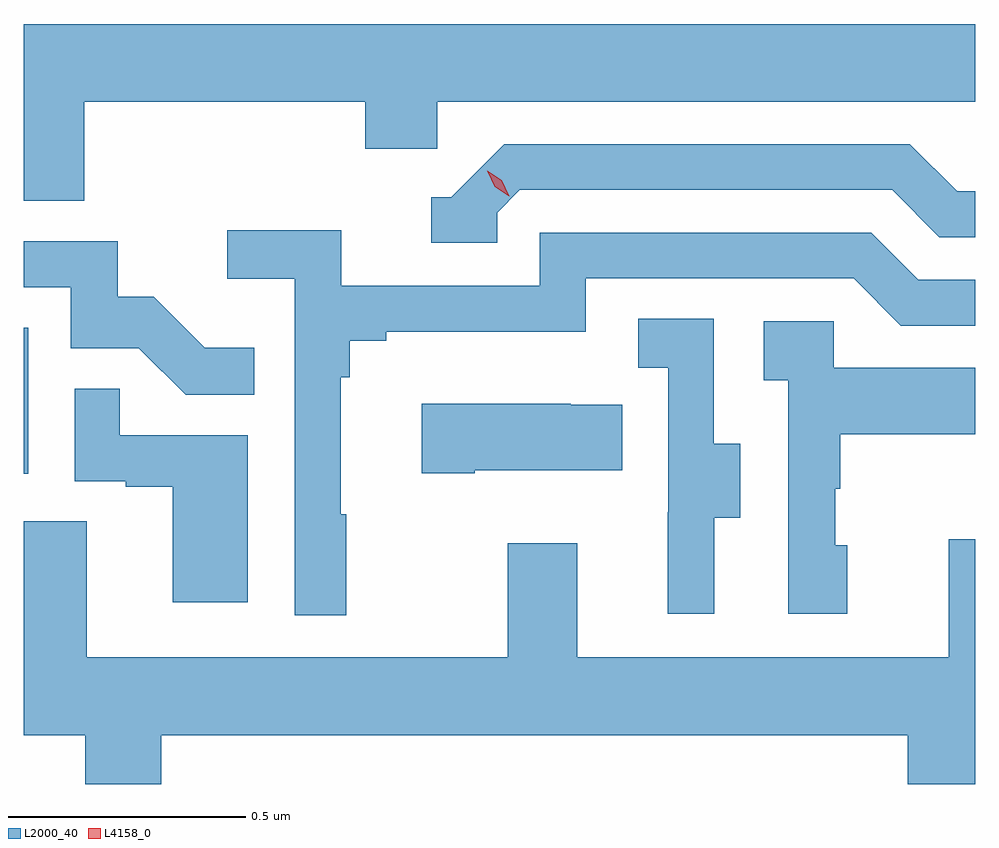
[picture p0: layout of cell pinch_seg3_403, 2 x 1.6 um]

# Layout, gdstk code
import gdstk
lib = gdstk.Library(unit=1e-6, precision=1e-09)
def R(c, l, rs):  # rectangles x0, y0, x1, y1
    for r in rs: c.add(gdstk.rectangle(r[:2], r[2:], *l))
def P(c, l, *ps):  # polygons
    for p in ps: c.add(gdstk.Polygon(p, *l))
L2000_40 = (2000, 40)
L4158_0 = (4158, 0)

pinch_seg3_403 = lib.new_cell('pinch_seg3_403')
R(pinch_seg3_403, L2000_40, [(902.515,705.462,902.524,705.769)])
P(pinch_seg3_403, L2000_40, [(902.642,706.244),(903.233,706.244),(903.233,706.146),(903.384,706.146),(903.384,706.244),(904.515,706.244),(904.515,706.408),(902.515,706.408),(902.515,706.036),(902.642,706.036)],
  [(903.51,706.011),(903.558,706.059),(904.341,706.059),(904.44,705.96),(904.515,705.96),(904.515,706.056),(904.477,706.056),(904.378,706.155),(903.525,706.155),(903.414,706.044),(903.371,706.044),(903.371,705.948),(903.51,705.948)],
  [(903.193,705.377),(903.181,705.377),(903.181,705.665),(903.2,705.665),(903.2,705.742),(903.277,705.742),(903.277,705.761),(903.696,705.761),(903.696,705.873),(904.26,705.873),(904.359,705.774),(904.515,705.774),(904.515,705.87),(904.396,705.87),(904.297,705.969),(903.6,705.969),(903.6,705.858),(903.182,705.858),(903.182,705.974),(902.943,705.974),(902.943,705.872),(903.084,705.872),(903.084,705.165),(903.193,705.165)],
  [(902.999,705.727),(902.895,705.727),(902.788,705.834),(902.712,705.834),(902.712,705.951),(902.515,705.951),(902.515,705.855),(902.613,705.855),(902.613,705.726),(902.757,705.726),(902.855,705.628),(902.999,705.628)],
  [(903.967,705.37),(904.021,705.37),(904.021,705.525),(903.966,705.525),(903.966,705.788),(903.807,705.788),(903.807,705.685),(903.87,705.685),(903.87,705.381),(903.869,705.381),(903.869,705.168),(903.967,705.168)],
  [(904.246,705.312),(904.221,705.312),(904.221,705.431),(904.231,705.431),(904.231,705.545),(904.515,705.545),(904.515,705.685),(904.218,705.685),(904.218,705.783),(904.071,705.783),(904.071,705.659),(904.122,705.659),(904.122,705.168),(904.246,705.168)],
  [(902.986,705.543),(902.717,705.543),(902.717,705.641),(902.622,705.641),(902.622,705.447),(902.729,705.447),(902.729,705.435),(902.828,705.435),(902.828,705.192),(902.986,705.192)],
  [(903.463,705.47),(903.773,705.47),(903.773,705.607),(903.665,705.607),(903.665,705.61),(903.351,705.61),(903.351,705.463),(903.463,705.463)],
  [(902.804,704.912),(904.373,704.912),(904.373,704.81),(904.515,704.81),(904.515,705.325),(904.46,705.325),(904.46,705.076),(903.679,705.076),(903.679,705.316),(903.532,705.316),(903.532,705.076),(902.647,705.076),(902.647,705.362),(902.515,705.362),(902.515,704.912),(902.644,704.912),(902.644,704.81),(902.804,704.81)])
P(pinch_seg3_403, L4158_0, [(903.535,706.046),(903.505,706.066),(903.489,706.099),(903.489,706.099),(903.489,706.099),(903.52,706.079),(903.535,706.046),(903.535,706.046)])

lib.write_gds('pinch_seg3_403.gds')
